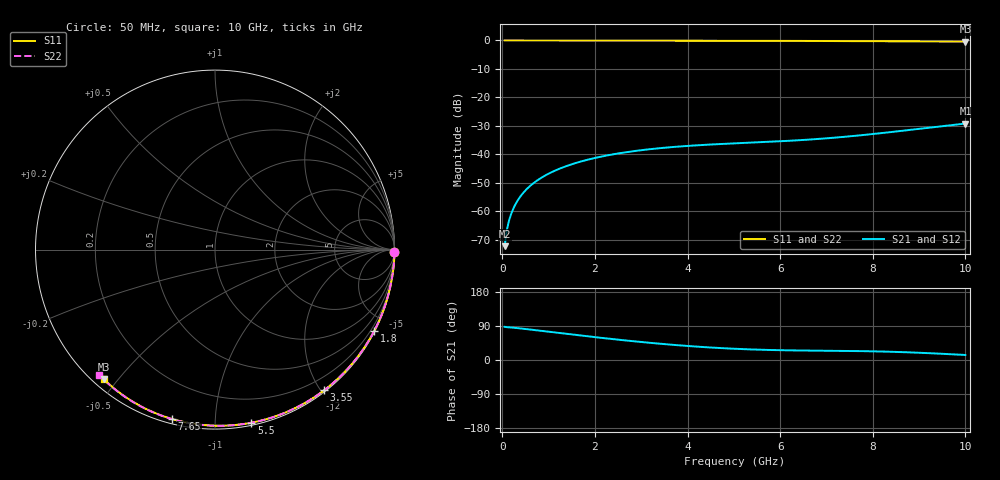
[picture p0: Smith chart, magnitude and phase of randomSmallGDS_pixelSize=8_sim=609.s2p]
! freq	dB(S11)	phase(S11)	dB(S12)	phase(S12)
!  dB(S21)	phase(S21)	dB(S22)	phase(S22)
!S-par simulation data
#  GHz  S  DB  R 50
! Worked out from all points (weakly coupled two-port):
!   200 points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, 50 MHz to 10 GHz, reference 50 ohm
!   highest |S21| = -29.19 dB at 10 GHz (marker M1); lowest = -72.3 dB at 50 MHz (marker M2)
!   lowest |S11| = -0.4 dB at 10 GHz (marker M3), VSWR 40.18, Z = 1.51 - j23 ohm
!   |S11| at or under -10 dB: nowhere
!   |S22| runs from -0.4 to 0.0 dB; largest |S21 - S12| = 0
!   S11 on the Smith chart (normalised r, x): 50 MHz: open; 1.8 GHz: 0.04, -4.15; 3.55 GHz: 0.02, -2.04; 5.5 GHz: 0.02, -1.23; 7.65 GHz: 0.02, -0.78; 10 GHz: 0.03, -0.46
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0.05  -0.00 -0.8  -72.25 87.5  -72.25 87.5  -0.00 -0.8
0.1  -0.00 -1.5  -66.42 86.7  -66.42 86.7  -0.00 -1.6
0.15  -0.00 -2.3  -62.99 86.2  -62.99 86.2  -0.00 -2.3
0.2  -0.00 -3.1  -60.54 85.7  -60.54 85.7  -0.00 -3.1
0.25  -0.00 -3.8  -58.63 85.2  -58.63 85.2  -0.00 -3.9
0.35  -0.00 -5.4  -55.74 83.9  -55.74 83.9  -0.00 -5.4
0.5  -0.01 -7.6  -52.67 81.8  -52.67 81.8  -0.01 -7.8
0.7  -0.01 -10.7  -49.80 79.0  -49.80 79.0  -0.01 -10.8
1  -0.02 -15.2  -46.79 74.6  -46.79 74.6  -0.02 -15.4
1.35  -0.03 -20.4  -44.32 69.5  -44.32 69.5  -0.03 -20.8
1.75  -0.03 -26.3  -42.28 63.8  -42.28 63.8  -0.03 -26.8
1.8  -0.03 -27.1  -42.06 63.1  -42.06 63.1  -0.03 -27.5
2.5  -0.05 -37.3  -39.70 53.7  -39.70 53.7  -0.05 -37.9
3.4  -0.07 -50.1  -37.84 43.0  -37.84 43.0  -0.07 -50.9
3.55  -0.07 -52.2  -37.61 41.4  -37.61 41.4  -0.07 -53.0
4.3  -0.09 -62.4  -36.73 34.5  -36.73 34.5  -0.09 -63.4
5.05  -0.11 -72.3  -36.12 29.4  -36.12 29.4  -0.11 -73.5
5.5  -0.13 -78.1  -35.79 27.4  -35.79 27.4  -0.13 -79.4
6.7  -0.18 -93.0  -34.74 24.7  -34.74 24.7  -0.18 -94.4
7.65  -0.23 -104.2  -33.45 23.6  -33.45 23.6  -0.24 -105.8
8.35  -0.28 -112.3  -32.26 21.9  -32.26 21.9  -0.29 -114.0
10  -0.43 -130.6  -29.19 13.2  -29.19 13.2  -0.44 -132.7
